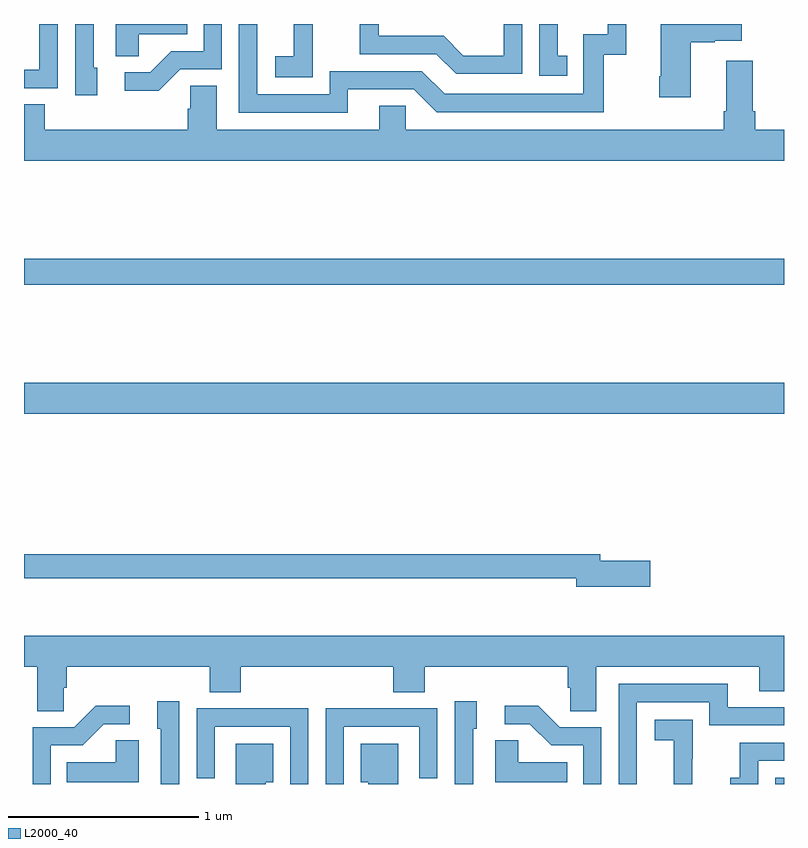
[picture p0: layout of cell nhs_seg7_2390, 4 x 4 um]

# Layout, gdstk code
import gdstk
lib = gdstk.Library(unit=1e-6, precision=1e-09)
def R(c, l, rs):  # rectangles x0, y0, x1, y1
    for r in rs: c.add(gdstk.rectangle(r[:2], r[2:], *l))
def P(c, l, *ps):  # polygons
    for p in ps: c.add(gdstk.Polygon(p, *l))
L2000_40 = (2000, 40)

nhs_seg7_2390 = lib.new_cell('nhs_seg7_2390')
R(nhs_seg7_2390, L2000_40, [(270.954,1000,271,1000.032), (267,1001.948,271,1002.112), (267,1002.628,271,1002.764)])
P(nhs_seg7_2390, L2000_40, [(267.822,1003.761),(268.041,1003.761),(268.041,1004),(267.945,1004),(267.945,1003.857),(267.776,1003.857),(267.665,1003.746),(267.531,1003.746),(267.531,1003.649),(267.709,1003.649)],
  [(269.858,1003.833),(269.809,1003.833),(269.809,1004),(269.712,1004),(269.712,1003.728),(269.858,1003.728)],
  [(268.705,1003.656),(269.052,1003.656),(269.172,1003.536),(270.052,1003.536),(270.052,1003.839),(270.17,1003.839),(270.17,1004),(270.072,1004),(270.072,1003.947),(269.943,1003.947),(269.943,1003.632),(269.214,1003.632),(269.094,1003.752),(268.608,1003.752),(268.608,1003.629),(268.227,1003.629),(268.227,1004),(268.131,1004),(268.131,1003.533),(268.705,1003.533)],
  [(267.385,1003.77),(267.366,1003.77),(267.366,1004),(267.27,1004),(267.27,1003.626),(267.385,1003.626)],
  [(269.622,1004),(269.526,1004),(269.526,1003.834),(269.312,1003.834),(269.208,1003.938),(268.866,1003.938),(268.866,1004),(268.768,1004),(268.768,1003.842),(269.171,1003.842),(269.276,1003.737),(269.622,1003.737)],
  [(267.603,1003.946),(267.86,1003.946),(267.86,1004),(267.482,1004),(267.482,1003.831),(267.603,1003.831)],
  [(267.177,1004),(267.081,1004),(267.081,1003.758),(267,1003.758),(267,1003.662),(267.177,1003.662)],
  [(270.508,1003.903),(270.635,1003.903),(270.635,1003.913),(270.778,1003.913),(270.778,1004),(270.35,1004),(270.35,1003.726),(270.343,1003.726),(270.343,1003.614),(270.508,1003.614)],
  [(268.521,1003.927),(268.52,1003.927),(268.52,1004),(268.421,1004),(268.421,1003.831),(268.323,1003.831),(268.323,1003.721),(268.521,1003.721)],
  [(267.876,1003.676),(267.876,1003.553),(267.863,1003.553),(267.863,1003.444),(267.11,1003.444),(267.11,1003.577),(267,1003.577),(267,1003.28),(271,1003.28),(271,1003.444),(270.848,1003.444),(270.848,1003.54),(270.835,1003.54),(270.835,1003.807),(270.695,1003.807),(270.695,1003.54),(270.683,1003.54),(270.683,1003.444),(269.01,1003.444),(269.01,1003.571),(268.871,1003.571),(268.871,1003.444),(268.015,1003.444),(268.015,1003.676)],
  [(270.295,1001.174),(270.034,1001.174),(270.034,1001.21),(267,1001.21),(267,1001.082),(269.906,1001.082),(269.906,1001.039),(270.295,1001.039)],
  [(267,1000.616),(267.071,1000.616),(267.071,1000.384),(267.21,1000.384),(267.21,1000.507),(267.224,1000.507),(267.224,1000.616),(267.977,1000.616),(267.977,1000.483),(268.142,1000.483),(268.142,1000.616),(268.943,1000.616),(268.943,1000.483),(269.108,1000.483),(269.108,1000.616),(269.861,1000.616),(269.861,1000.507),(269.874,1000.507),(269.874,1000.384),(270.013,1000.384),(270.013,1000.616),(270.869,1000.616),(270.869,1000.489),(271,1000.489),(271,1000.78),(267,1000.78)],
  [(270.225,1000.431),(270.606,1000.431),(270.606,1000.308),(271,1000.308),(271,1000.404),(270.703,1000.404),(270.703,1000.527),(270.129,1000.527),(270.129,1000),(270.225,1000)],
  [(267.816,1000.435),(267.701,1000.435),(267.701,1000.29),(267.72,1000.29),(267.72,1000),(267.816,1000)],
  [(269.364,1000.29),(269.383,1000.29),(269.383,1000.435),(269.268,1000.435),(269.268,1000),(269.364,1000)],
  [(267.141,1000.203),(267.31,1000.203),(267.421,1000.314),(267.556,1000.314),(267.556,1000.412),(267.377,1000.412),(267.264,1000.299),(267.045,1000.299),(267.045,1000),(267.141,1000)],
  [(270.039,1000.299),(269.82,1000.299),(269.707,1000.412),(269.529,1000.412),(269.529,1000.314),(269.663,1000.314),(269.774,1000.203),(269.943,1000.203),(269.943,1000),(270.039,1000)],
  [(268.683,1000.302),(269.079,1000.302),(269.079,1000.029),(269.175,1000.029),(269.175,1000.398),(268.859,1000.398),(268.859,1000.4),(268.587,1000.4),(268.587,1000),(268.683,1000)],
  [(268.497,1000.4),(268.225,1000.4),(268.225,1000.398),(267.909,1000.398),(267.909,1000.029),(268.005,1000.029),(268.005,1000.302),(268.401,1000.302),(268.401,1000),(268.497,1000)],
  [(270.518,1000.133),(270.519,1000.133),(270.519,1000.339),(270.321,1000.339),(270.321,1000.229),(270.419,1000.229),(270.419,1000.001),(270.42,1000.001),(270.42,1000),(270.518,1000)],
  [(267.604,1000.229),(267.483,1000.229),(267.483,1000.114),(267.226,1000.114),(267.226,1000.01),(267.604,1000.01)],
  [(269.858,1000.114),(269.601,1000.114),(269.601,1000.229),(269.48,1000.229),(269.48,1000.01),(269.858,1000.01)],
  [(270.864,1000.122),(271,1000.122),(271,1000.218),(270.766,1000.218),(270.766,1000.033),(270.717,1000.033),(270.717,1000),(270.864,1000)],
  [(268.273,1000.01),(268.312,1000.01),(268.312,1000.213),(268.115,1000.213),(268.115,1000),(268.273,1000)],
  [(268.969,1000.213),(268.772,1000.213),(268.772,1000.01),(268.811,1000.01),(268.811,1000),(268.969,1000)])

lib.write_gds('nhs_seg7_2390.gds')
